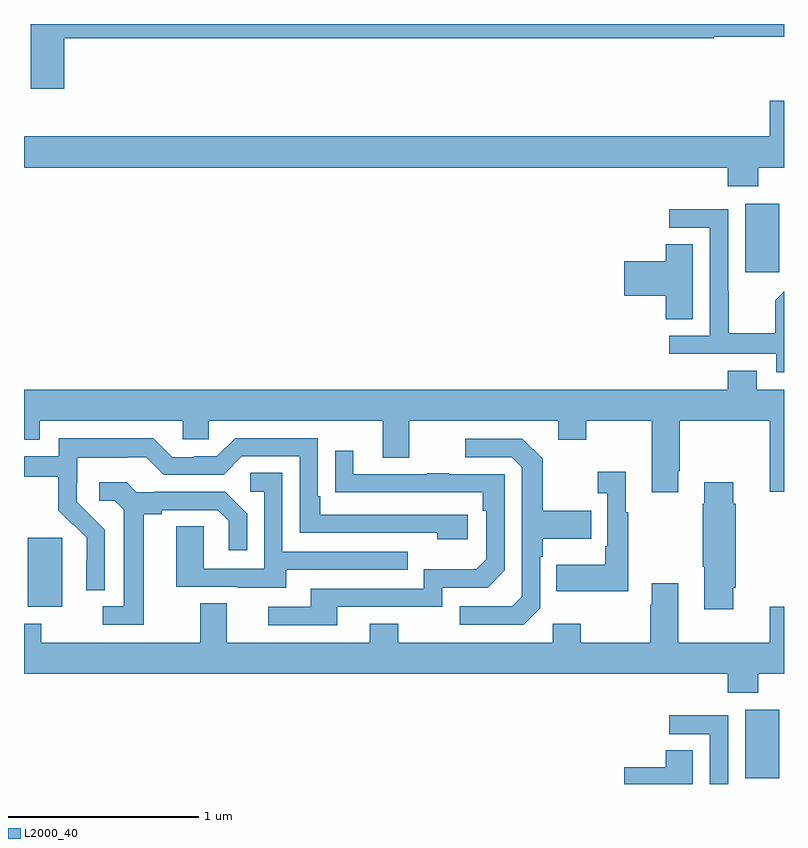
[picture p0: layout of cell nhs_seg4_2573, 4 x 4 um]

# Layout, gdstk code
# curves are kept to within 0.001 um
import gdstk
lib = gdstk.Library(unit=1e-6, precision=1e-09)
def R(c, l, rs):  # rectangles x0, y0, x1, y1
    for r in rs: c.add(gdstk.rectangle(r[:2], r[2:], *l))
def P(c, l, *ps):  # polygons
    for p in ps: c.add(gdstk.Polygon(p, *l))
L2000_40 = (2000, 40)

nhs_seg4_2573 = lib.new_cell('nhs_seg4_2573')
R(nhs_seg4_2573, L2000_40, [(248.795,802.929,248.974,803.29), (245.021,803.834,245.2,804.195), (248.795,805.593,248.974,805.954)])
P(nhs_seg4_2573, L2000_40, [(245.213,806.824),(248.63,806.824),(248.63,806.832),(249,806.832),(249,806.9),(245.035,806.9),(245.035,806.559),(245.213,806.559)],
  [(248.865,806.144),(249,806.144),(249,806.497),(248.924,806.497),(248.924,806.308),(245,806.308),(245,806.144),(248.705,806.144),(248.705,806.045),(248.865,806.045)],
  [(249,805.494),(248.953,805.447),(248.953,805.273),(248.709,805.273),(248.709,805.496),(248.706,805.496),(248.706,805.926),(248.397,805.926),(248.397,805.827),(248.61,805.827),(248.61,805.26),(248.397,805.26),(248.397,805.164),(248.958,805.164),(248.958,805.067),(249,805.067)],
  [(248.521,805.742),(248.378,805.742),(248.378,805.652),(248.16,805.652),(248.16,805.469),(248.378,805.469),(248.378,805.345),(248.521,805.345)],
  [(248.443,804.547),(248.451,804.547),(248.451,804.812),(248.924,804.812),(248.924,804.438),(249,804.438),(249,804.976),(248.857,804.976),(248.857,805.075),(248.705,805.075),(248.705,804.976),(245,804.976),(245,804.713),(245.083,804.713),(245.083,804.812),(245.835,804.812),(245.835,804.714),(245.973,804.714),(245.973,804.812),(246.887,804.812),(246.887,804.618),(247.027,804.618),(247.027,804.812),(247.811,804.812),(247.811,804.713),(247.959,804.713),(247.959,804.812),(248.303,804.812),(248.303,804.435),(248.443,804.435)],
  [(245.424,804.238),(245.278,804.386),(245.278,804.483),(245.28,804.483),(245.28,804.617),(245.543,804.617),(245.543,804.621),(245.643,804.621),(245.736,804.528),(246.051,804.528),(246.147,804.624),(246.45,804.624),(246.45,804.222),(247.175,804.222),(247.175,804.188),(247.336,804.188),(247.336,804.318),(246.559,804.318),(246.559,804.415),(246.546,804.415),(246.546,804.72),(246.111,804.72),(246.015,804.624),(245.897,804.624),(245.897,804.621),(245.781,804.621),(245.681,804.721),(245.184,804.721),(245.184,804.624),(245,804.624),(245,804.516),(245.179,804.516),(245.179,804.341),(245.256,804.264),(245.259,804.267),(245.33,804.197),(245.33,804.074),(245.328,804.074),(245.328,803.92),(245.424,803.92)],
  [(247.716,803.826),(247.716,804.095),(247.729,804.095),(247.729,804.191),(247.985,804.191),(247.985,804.339),(247.729,804.339),(247.729,804.611),(247.623,804.717),(247.323,804.717),(247.323,804.621),(247.566,804.621),(247.62,804.567),(247.62,803.886),(247.569,803.835),(247.293,803.835),(247.293,803.739),(247.629,803.739)],
  [(246.649,803.832),(247.2,803.832),(247.2,803.934),(247.44,803.934),(247.53,804.024),(247.53,804.531),(247.235,804.531),(247.235,804.536),(247.123,804.536),(247.123,804.531),(246.733,804.531),(246.733,804.655),(246.637,804.655),(246.637,804.436),(247.414,804.435),(247.414,804.338),(247.434,804.338),(247.434,804.084),(247.381,804.031),(247.104,804.031),(247.104,803.928),(246.509,803.928),(246.509,803.832),(246.285,803.832),(246.285,803.736),(246.649,803.736)],
  [(248.179,804.331),(248.167,804.331),(248.167,804.544),(248.019,804.544),(248.019,804.431),(248.07,804.431),(248.07,804.151),(248.058,804.151),(248.058,804.055),(247.801,804.055),(247.801,803.915),(248.179,803.915)],
  [(246.379,804.027),(247.019,804.027),(247.019,804.123),(246.36,804.123),(246.36,804.539),(246.192,804.539),(246.192,804.438),(246.264,804.438),(246.264,804.033),(245.946,804.033),(245.946,804.257),(245.801,804.257),(245.801,803.937),(246.125,803.937),(246.125,803.933),(246.379,803.933)],
  [(245.629,804.32),(245.725,804.32),(245.725,804.342),(246.02,804.342),(246.077,804.285),(246.077,804.129),(246.174,804.129),(246.174,804.322),(246.058,804.438),(245.686,804.438),(245.686,804.435),(245.592,804.435),(245.54,804.487),(245.397,804.487),(245.397,804.39),(245.478,804.39),(245.525,804.343),(245.525,803.835),(245.415,803.835),(245.415,803.739),(245.629,803.739)],
  [(248.734,803.932),(248.747,803.932),(248.747,804.374),(248.734,804.374),(248.734,804.487),(248.579,804.487),(248.579,804.374),(248.572,804.374),(248.572,804.043),(248.579,804.043),(248.579,803.82),(248.734,803.82)],
  [(248.865,803.48),(249,803.48),(249,803.833),(248.924,803.833),(248.924,803.644),(248.443,803.644),(248.443,803.956),(248.303,803.956),(248.303,803.843),(248.296,803.843),(248.296,803.644),(247.929,803.644),(247.929,803.743),(247.782,803.743),(247.782,803.644),(246.969,803.644),(246.969,803.743),(246.821,803.743),(246.821,803.644),(246.067,803.644),(246.067,803.852),(245.927,803.852),(245.927,803.644),(245.091,803.644),(245.091,803.743),(245,803.743),(245,803.48),(248.705,803.48),(248.705,803.381),(248.865,803.381)],
  [(248.706,803.262),(248.397,803.262),(248.397,803.163),(248.61,803.163),(248.61,802.9),(248.706,802.9)],
  [(248.521,803.078),(248.378,803.078),(248.378,802.988),(248.16,802.988),(248.16,802.9),(248.521,802.9)])

lib.write_gds('nhs_seg4_2573.gds')
